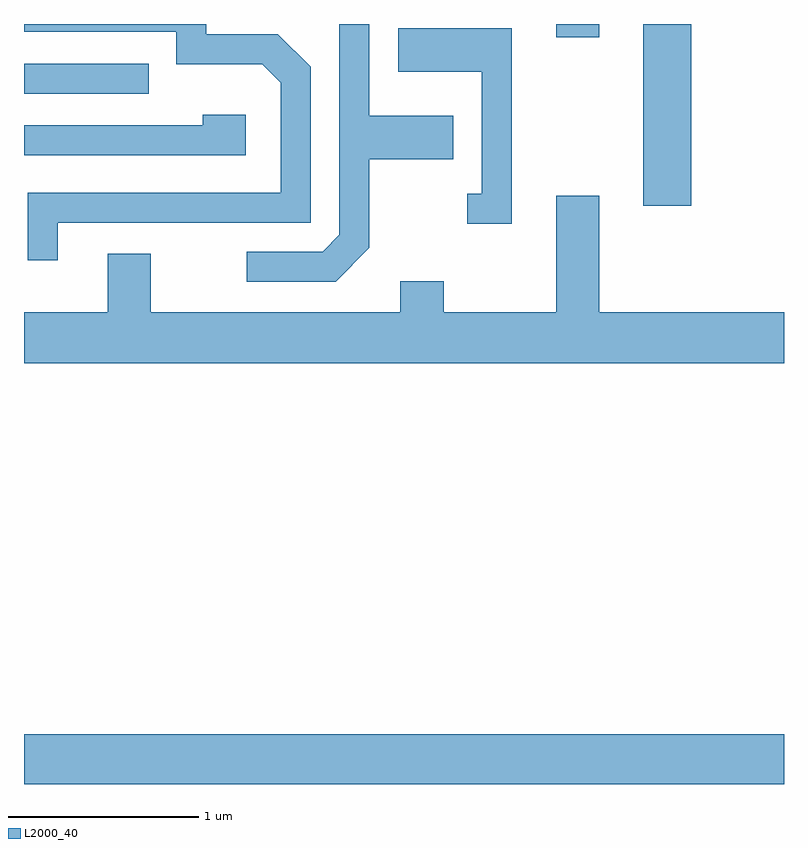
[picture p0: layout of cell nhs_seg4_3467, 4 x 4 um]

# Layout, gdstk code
import gdstk
lib = gdstk.Library(unit=1e-6, precision=1e-09)
def R(c, l, rs):  # rectangles x0, y0, x1, y1
    for r in rs: c.add(gdstk.rectangle(r[:2], r[2:], *l))
def P(c, l, *ps):  # polygons
    for p in ps: c.add(gdstk.Polygon(p, *l))
L2000_40 = (2000, 40)

nhs_seg4_3467 = lib.new_cell('nhs_seg4_3467')
R(nhs_seg4_3467, L2000_40, [(285.611,1387.982,289.611,1388.244), (288.871,1391.026,289.124,1391.982), (285.611,1391.616,286.268,1391.774), (288.411,1391.911,288.639,1391.982)])
P(nhs_seg4_3467, L2000_40, [(287.429,1390.804),(287.429,1391.271),(287.869,1391.271),(287.869,1391.499),(287.429,1391.499),(287.429,1391.982),(287.271,1391.982),(287.271,1390.872),(287.184,1390.784),(286.783,1390.784),(286.783,1390.626),(287.252,1390.626)],
  [(285.789,1390.936),(287.119,1390.936),(287.119,1391.757),(286.947,1391.929),(286.569,1391.929),(286.569,1391.982),(285.611,1391.982),(285.611,1391.941),(286.411,1391.941),(286.411,1391.771),(286.864,1391.771),(286.961,1391.674),(286.961,1391.094),(285.631,1391.094),(285.631,1390.738),(285.789,1390.738)],
  [(288.179,1391.959),(287.581,1391.959),(287.581,1391.731),(288.021,1391.731),(288.021,1391.089),(287.943,1391.089),(287.943,1390.931),(288.179,1390.931)],
  [(286.779,1391.504),(286.551,1391.504),(286.551,1391.449),(285.611,1391.449),(285.611,1391.291),(286.779,1391.291)],
  [(289.611,1390.464),(288.639,1390.464),(288.639,1391.079),(288.411,1391.079),(288.411,1390.464),(287.819,1390.464),(287.819,1390.629),(287.591,1390.629),(287.591,1390.464),(286.279,1390.464),(286.279,1390.774),(286.051,1390.774),(286.051,1390.464),(285.611,1390.464),(285.611,1390.196),(289.611,1390.196)])

lib.write_gds('nhs_seg4_3467.gds')
